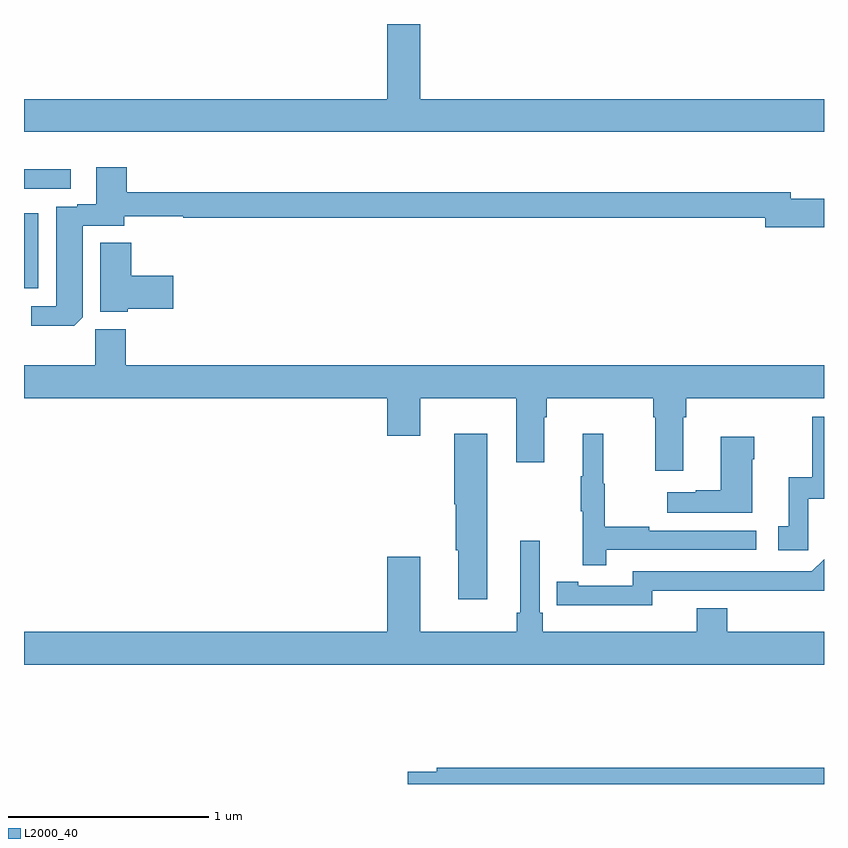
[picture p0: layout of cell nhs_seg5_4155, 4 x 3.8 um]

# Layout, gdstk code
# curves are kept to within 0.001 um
import gdstk
lib = gdstk.Library(unit=1e-6, precision=1e-09)
def R(c, l, rs):  # rectangles x0, y0, x1, y1
    for r in rs: c.add(gdstk.rectangle(r[:2], r[2:], *l))
def P(c, l, *ps):  # polygons
    for p in ps: c.add(gdstk.Polygon(p, *l))
L2000_40 = (2000, 40)

nhs_seg5_4155 = lib.new_cell('nhs_seg5_4155')
R(nhs_seg5_4155, L2000_40, [(355,889.278,355.072,889.654), (355,889.776,355.234,889.872)])
P(nhs_seg5_4155, L2000_40, [(359,890.224),(356.98,890.224),(356.98,890.599),(356.816,890.599),(356.816,890.224),(355,890.224),(355,890.06),(359,890.06)],
  [(355.294,889.132),(355.294,889.59),(355.501,889.59),(355.501,889.638),(355.797,889.638),(355.797,889.63),(358.706,889.63),(358.706,889.583),(359,889.583),(359,889.725),(358.834,889.725),(358.834,889.759),(355.514,889.759),(355.514,889.882),(355.361,889.882),(355.361,889.699),(355.265,889.699),(355.265,889.686),(355.16,889.686),(355.16,889.188),(355.035,889.188),(355.035,889.091),(355.252,889.091)],
  [(355.518,889.175),(355.747,889.175),(355.747,889.341),(355.535,889.341),(355.535,889.505),(355.382,889.505),(355.382,889.16),(355.518,889.16)],
  [(358.297,888.632),(358.31,888.632),(358.31,888.728),(359,888.728),(359,888.892),(355.508,888.892),(355.508,889.074),(355.357,889.074),(355.357,888.892),(355,888.892),(355,888.728),(356.816,888.728),(356.816,888.54),(356.98,888.54),(356.98,888.728),(357.461,888.728),(357.461,888.408),(357.601,888.408),(357.601,888.632),(357.614,888.632),(357.614,888.728),(358.145,888.728),(358.145,888.632),(358.157,888.632),(358.157,888.366),(358.297,888.366)],
  [(358.92,888.225),(359,888.225),(359,888.636),(358.941,888.636),(358.941,888.334),(358.823,888.334),(358.823,888.087),(358.77,888.087),(358.77,887.967),(358.92,887.967)],
  [(357.316,888.55),(357.152,888.55),(357.152,888.198),(357.158,888.198),(357.158,887.967),(357.17,887.967),(357.17,887.724),(357.316,887.724)],
  [(357.911,887.97),(358.66,887.97),(358.66,888.066),(358.127,888.066),(358.127,888.086),(357.904,888.086),(357.904,888.3),(357.896,888.3),(357.896,888.55),(357.794,888.55),(357.794,888.337),(357.783,888.337),(357.783,888.163),(357.794,888.163),(357.794,887.892),(357.911,887.892)],
  [(358.642,888.422),(358.65,888.422),(358.65,888.535),(358.484,888.535),(358.484,888.269),(358.358,888.269),(358.358,888.259),(358.215,888.259),(358.215,888.155),(358.642,888.155)],
  [(359,887.56),(358.517,887.56),(358.517,887.677),(358.364,887.677),(358.364,887.56),(357.593,887.56),(357.593,887.656),(357.579,887.656),(357.579,888.016),(357.482,888.016),(357.482,887.656),(357.463,887.656),(357.463,887.56),(356.98,887.56),(356.98,887.935),(356.816,887.935),(356.816,887.56),(355,887.56),(355,887.396),(359,887.396)],
  [(358.14,887.766),(359,887.765),(359,887.924),(358.938,887.862),(358.044,887.862),(358.044,887.79),(357.772,887.79),(357.772,887.81),(357.664,887.81),(357.664,887.694),(358.14,887.693)],
  [(359,886.88),(357.064,886.88),(357.064,886.86),(356.918,886.86),(356.918,886.799),(359,886.799)])

lib.write_gds('nhs_seg5_4155.gds')
